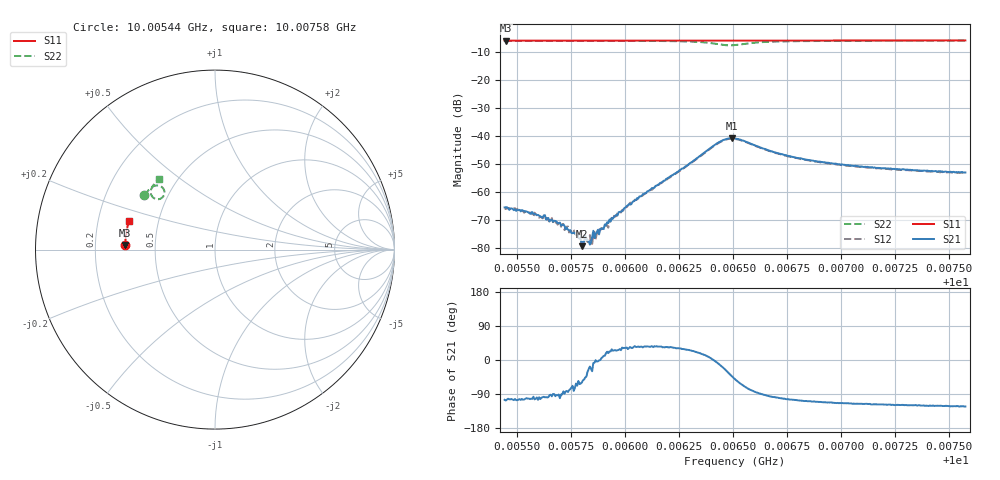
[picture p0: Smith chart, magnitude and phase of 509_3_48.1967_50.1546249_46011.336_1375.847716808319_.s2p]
#  HZ  S  RI  R  50.00
! Rohde & Schwarz Vector Network Analyzer
! Rohde-Schwarz,ZNB20-2Port,1311601062101988,3.16
! Created: UTC 3/20/2024, 11:58:54 AM
! freq[Hz]  re:S11  im:S11  re:S21  im:S21  re:S12  im:S12  re:S22  im:S22
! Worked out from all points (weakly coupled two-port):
!   401 points, 10.00544 GHz to 10.00758 GHz, reference 50 ohm
!   highest |S21| = -40.82 dB at 10.00649 GHz (marker M1); lowest = -79.3 dB at 10.0058 GHz (marker M2)
!   lowest |S11| = -6.0 dB at 10.00545 GHz (marker M3), VSWR 3.01, Z = 16.6 + j1.15 ohm
!   |S11| at or under -10 dB: nowhere
!   |S22| runs from -7.7 to -6.0 dB; largest |S21 - S12| = 0.00056
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1.0005441e10  -0.5004 0.0255  -0.000138 -0.000513  -0.000121 -0.000481  -0.3931 0.3031
1.0005447e10  -0.5003 0.0259  -0.000155 -0.000509  -0.000126 -0.000482  -0.3929 0.3033
1.0005575e10  -0.5001 0.0342  -4.92e-05 -0.000407  -4.44e-05 -0.000357  -0.3873 0.3109
1.0005687e10  -0.4997 0.0416  -1.45e-05 -0.000278  -2.23e-05 -0.000261  -0.3821 0.3176
1.0005767e10  -0.4994 0.0467  5.42e-05 -0.00018  6.51e-05 -0.000168  -0.378 0.3226
1.0005799e10  -0.4993 0.0487  5.51e-05 -9.29e-05  0.000124 -0.000115  -0.3764 0.3245
1.000582e10  -0.4992 0.0501  0.000103 -9.85e-05  0.000114 -0.000106  -0.3752 0.3258
1.0005831e10  -0.499 0.0508  0.000123 -5.61e-05  0.000136 -6.3e-05  -0.3747 0.3265
1.0005836e10  -0.4991 0.0511  0.00011 -3.44e-05  0.000157 -6.62e-05  -0.3745 0.3269
1.0005852e10  -0.4989 0.0522  0.000201 -2.82e-05  0.000174 -2.4e-05  -0.3734 0.3279
1.0005863e10  -0.499 0.0529  0.000179 -1.81e-06  0.000143 -1.23e-05  -0.3729 0.3285
1.0005889e10  -0.4989 0.0547  0.000219 1.82e-05  0.000227 2.84e-05  -0.3713 0.3302
1.0005916e10  -0.4986 0.0563  0.000268 0.000108  0.000248 6.66e-05  -0.3696 0.332
1.0005959e10  -0.4984 0.0591  0.000357 0.000164  0.000319 0.000194  -0.3669 0.3349
1.0006156e10  -0.4972 0.0719  0.00112 0.000797  0.00107 0.000822  -0.35 0.3486
1.0006423e10  -0.4943 0.089  0.00724 -0.000749  0.00707 -0.000339  -0.2847 0.3336
1.0006492e10  -0.4934 0.0928  0.00677 -0.00609  0.00694 -0.00558  -0.2977 0.2871
1.0006508e10  -0.4934 0.0937  0.00569 -0.00698  0.00596 -0.00651  -0.3089 0.2819
1.00067e10  -0.492 0.1061  -0.00079 -0.00493  -0.000564 -0.00487  -0.3581 0.3246
1.0006866e10  -0.49 0.1166  -0.00124 -0.00342  -0.00101 -0.00338  -0.3508 0.3474
1.0007223e10  -0.485 0.1393  -0.00122 -0.00232  -0.00111 -0.00229  -0.3317 0.3736
1.0007575e10  -0.4787 0.1611  -0.0012 -0.00188  -0.00111 -0.0019  -0.3135 0.3922
